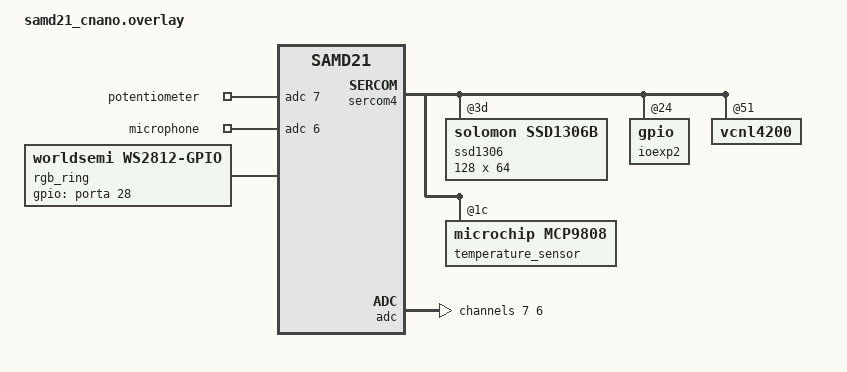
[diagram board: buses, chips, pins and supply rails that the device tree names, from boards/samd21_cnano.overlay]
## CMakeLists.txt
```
# SPDX-License-Identifier: Apache-2.0

cmake_minimum_required(VERSION 3.20.0)

find_package(Zephyr REQUIRED HINTS $ENV{ZEPHYR_BASE})
project(bopit_game)

target_include_directories(app PRIVATE src src/hw src/inputs)

target_sources(app PRIVATE
	src/main.c
	src/game.c
	src/ui.c
	src/ring.c
	src/audio.c
	src/hw/ioexp.c
	src/hw/vcnl4200.c
	src/hw/analog.c
	src/inputs/inputs.c
	src/inputs/detector.c
	src/inputs/input_cover.c
	src/inputs/input_touch.c
	src/inputs/input_twirl.c
	src/inputs/input_twist.c
	src/inputs/input_move.c
	src/inputs/input_warm.c
	src/inputs/input_say.c
)
```

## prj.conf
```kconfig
# Bop It! game - merged from the ambient_light, capacitive_touch, joystick_oled,
# potentiometer_reading, proximity_sensor, temperature_sensor, rgb_ring,
# snake_game and microphone (branch `microphone`) examples.

# Explorer I2C bus: OLED, MCP23008 (joystick + touch pads), VCNL4200, MCP9808
CONFIG_I2C=y
CONFIG_GPIO=y

# Potentiometer (AIN7) and microphone (AIN6) on the same SAM ADC
CONFIG_ADC=y

# OLED through the character framebuffer. The CFB allocates its 1 KiB frame
# buffer from the heap (examples used 2048..8192; 4096 is a compromise that
# still fits the 16 KiB SRAM of the SAMD21G17D).
CONFIG_DISPLAY=y
CONFIG_CHARACTER_FRAMEBUFFER=y
CONFIG_HEAP_MEM_POOL_SIZE=4096

# WS2812B RGB ring (bit-banged GPIO driver, see rgb_ring example)
CONFIG_LED_STRIP=y

# Random instruction selection (same as snake_game). The timer based
# generator is not cryptographic; the game also mixes in the cycle counter
# at the moment the player starts a game.
CONFIG_TEST_RANDOM_GENERATOR=y
CONFIG_TIMER_RANDOM_GENERATOR=y

CONFIG_PRINTK=y
CONFIG_MAIN_STACK_SIZE=2048

# NOTE: the capacitive_touch example used CONFIG_INPUT / CONFIG_INPUT_GPIO_KEYS
# with the MCP23008 GPIO driver. The game reads the MCP23008 directly instead
# (like joystick_oled / snake_game), so those options are intentionally NOT set.
# See README "Conflicts and how they were resolved".

# Audio extension (not implemented). When implementing the speaker path from
# the `speaker` example, add:
#   CONFIG_SPI=y
#   CONFIG_DAC=y
```

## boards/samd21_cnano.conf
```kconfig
# Board-specific Kconfig for samd21_cnano, merged from the per-example settings.
# SAMD21G17D: 128 KiB flash, 16 KiB SRAM - keep heap/stack as in prj.conf.
# None of the examples used a board .conf; all options live in prj.conf.
# Board-only tweaks go here so prj.conf stays identical for every board.
#
# Example (from the joystick_oled README troubleshooting): if the Microchip
# "g1" SERCOM I2C driver in your tree is too old, update the checkout.
#
# Audio extension (speaker example), when implemented:
# CONFIG_SPI=y
# CONFIG_DAC=y
# CONFIG_DAC_LOG_LEVEL_INF=y
```

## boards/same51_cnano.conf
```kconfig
# Board-specific Kconfig for same51_cnano, merged from the per-example settings.
# SAME51J20A: 1 MiB flash, 256 KiB SRAM - room for audio samples later.
# More heap is harmless here:
CONFIG_HEAP_MEM_POOL_SIZE=8192
# None of the examples used a board .conf; all options live in prj.conf.
# Board-only tweaks go here so prj.conf stays identical for every board.
#
# Example (from the joystick_oled README troubleshooting): if the Microchip
# "g1" SERCOM I2C driver in your tree is too old, update the checkout.
#
# Audio extension (speaker example), when implemented:
# CONFIG_SPI=y
# CONFIG_DAC=y
# CONFIG_DAC_LOG_LEVEL_INF=y
```

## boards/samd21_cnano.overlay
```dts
/* SPDX-License-Identifier: Apache-2.0 */

/*
 * Bop It! game - Curiosity Nano Explorer on the SAM D21 Curiosity Nano.
 *
 * Merged from the samd21_cnano overlays of: ambient_light, proximity_sensor,
 * capacitive_touch, joystick_oled, potentiometer_reading, temperature_sensor,
 * rgb_ring, snake_game, microphone (branch `microphone`) and speaker (audio,
 * commented out).
 *
 * Explorer I2C bus -> PA12 (SDA) / PA13 (SCL), SERCOM4, 400 kHz (board default)
 *   - OLED SSD1306 128x64     @ 0x3D
 *   - MCP23008 expander 2     @ 0x24 (joystick GP0..GP4, touch SW3..SW1 GP5..GP7)
 *   - VCNL4200 prox + light   @ 0x51
 *   - MCP9808 temperature     @ 0x1C
 * ADC (one SAM ADC):  AIN6 = PA06 microphone, AIN7 = PA07 potentiometer
 * RGB ring WS2812B:   PA28 (Explorer IO 27), bit-banged GPIO driver
 *
 * Conflicts resolved (see README):
 *  - OLED compatible: most examples use "solomon,ssd1306b", ambient_light and
 *    joystick_oled use "solomon,ssd1306". The majority value is used; switch
 *    if your Zephyr tree only knows the other one.
 *  - MCP23008 @ 0x24: capacitive_touch bound Zephyr's "microchip,mcp23008"
 *    GPIO driver + gpio-keys, joystick_oled/snake_game read it raw over I2C.
 *    Two owners for one chip would fight over IODIR/GPPU, so the node has NO
 *    compatible here and the app reads it raw for both joystick and touch.
 *  - ADC reference: pot used ADC_REF_INTERNAL, mic ADC_REF_VDD_1_2. Both
 *    channels are kept as in their examples; src/hw/analog.c re-runs
 *    adc_channel_setup() when switching channel (REFCTRL is global).
 *  - joystick_oled restated SERCOM4 (pinctrl, clocks). Not needed: the board
 *    already enables SERCOM4 as I2C, the other examples rely on that.
 */

#include <zephyr/dt-bindings/gpio/gpio.h>
#include <zephyr/dt-bindings/adc/adc.h>
#include <zephyr/dt-bindings/led/led.h>

/ {
	chosen {
		zephyr,display = &ssd1306;
	};

	aliases {
		temperature-sensor = &temperature_sensor;
		led-strip = &rgb_ring;
		i2c-controller = &sercom4;
	};

	zephyr,user {
		io-channels = <&adc 7>, <&adc 6>;
		io-channel-names = "potentiometer", "microphone";
	};

	rgb_ring: ws2812 {
		compatible = "worldsemi,ws2812-gpio";
		gpios = <&porta 28 GPIO_ACTIVE_HIGH>;
		chain-length = <8>;
		color-mapping = <LED_COLOR_ID_GREEN
				 LED_COLOR_ID_RED
				 LED_COLOR_ID_BLUE>;
	};
};

&sercom4 {
	ssd1306: ssd1306@3d {
		compatible = "solomon,ssd1306b";
		reg = <0x3d>;
		width = <128>;
		height = <64>;
		segment-offset = <0>;
		page-offset = <0>;
		display-offset = <0>;
		multiplex-ratio = <63>;
		prechargep = <0x22>;
		segment-remap;
		com-invdir;
	};

	/* No compatible on purpose: read raw by src/hw/ioexp.c */
	ioexp2: gpio@24 {
		reg = <0x24>;
	};

	/* No Zephyr driver: read raw by src/hw/vcnl4200.c */
	vcnl4200: vcnl4200@51 {
		reg = <0x51>;
	};

	/* Compatible kept from temperature_sensor; CONFIG_SENSOR is off, read raw */
	temperature_sensor: temperature_sensor@1c {
		compatible = "microchip,mcp9808";
		reg = <0x1c>;
	};
};

&adc {
	prescaler = <4>;
	#address-cells = <1>;
	#size-cells = <0>;

	/* Potentiometer (potentiometer_reading example) */
	channel@7 {
		reg = <7>;
		zephyr,gain = "ADC_GAIN_1";
		zephyr,reference = "ADC_REF_INTERNAL";
		zephyr,acquisition-time = <ADC_ACQ_TIME_DEFAULT>;
		zephyr,resolution = <12>;
		zephyr,input-positive = <7>;
	};

	/* Microphone (microphone branch) */
	channel@6 {
		reg = <6>;
		zephyr,gain = "ADC_GAIN_1";
		zephyr,reference = "ADC_REF_VDD_1_2";
		zephyr,acquisition-time = <ADC_ACQ_TIME_DEFAULT>;
		zephyr,resolution = <12>;
		zephyr,input-positive = <6>;
	};
};

/*
 * AUDIO EXTENSION (speaker example) - uncomment when audio is implemented and
 * copy dts/bindings/microchip,mcp4821.yaml + src/dac_mcp4821.c from the
 * speaker example. Pins: SERCOM1 PA16 MOSI / PA17 SCK / PA19 MISO, DAC CS
 * PA27, SPEAKER ENABLE PB02; DAC LDAC is not routed on the SAMD21 Nano.
 * No pin conflict with anything above (I2C PA12/13, ADC PA06/07, ring PA28).
 *
 * &pinctrl {
 *	sercom1_spi_default: sercom1_spi_default {
 *		group1 {
 *			pinmux = <PA16C_SERCOM1_PAD0>, <PA17C_SERCOM1_PAD1>,
 *				 <PA19C_SERCOM1_PAD3>;
 *		};
 *	};
 * };
 *
 * &sercom1 {
 *	compatible = "atmel,sam0-spi";
 *	status = "okay";
 *	#address-cells = <1>;
 *	#size-cells = <0>;
 *	dipo = <3>;
 *	dopo = <0>;
 *	pinctrl-0 = <&sercom1_spi_default>;
 *	pinctrl-names = "default";
 *	cs-gpios = <&porta 27 GPIO_ACTIVE_LOW>;
 *	mcp4821: dac@0 {
 *		compatible = "microchip,mcp4821";
 *		reg = <0>;
 *		spi-max-frequency = <1000000>;
 *		#io-channel-cells = <1>;
 *		gain-1x;
 *	};
 * };
 *
 * / {
 *	speaker_ctrl {
 *		compatible = "gpio-leds";
 *		speaker_en: speaker_en {
 *			gpios = <&portb 2 GPIO_ACTIVE_HIGH>;
 *			label = "SPEAKER_ENABLE";
 *		};
 *	};
 *	aliases {
 *		speaker-dac = &mcp4821;
 *		speaker-enable = &speaker_en;
 *	};
 * };
 */
```

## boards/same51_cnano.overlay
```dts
/* SPDX-License-Identifier: Apache-2.0 */

/*
 * Bop It! game - Curiosity Nano Explorer on the SAM E51 Curiosity Nano.
 *
 * Merged from the same51_cnano overlays of: ambient_light, proximity_sensor,
 * capacitive_touch, joystick_oled, potentiometer_reading, temperature_sensor,
 * rgb_ring, snake_game, microphone (branch `microphone`) and speaker (audio,
 * commented out).
 *
 * Explorer I2C bus -> PA12 (SDA) / PA13 (SCL), SERCOM2, 400 kHz (board default, GCLK1 60 MHz)
 *   - OLED SSD1306 128x64     @ 0x3D
 *   - MCP23008 expander 2     @ 0x24 (joystick GP0..GP4, touch SW3..SW1 GP5..GP7)
 *   - VCNL4200 prox + light   @ 0x51
 *   - MCP9808 temperature     @ 0x1C
 * ADC0:  AIN6 = PA06 microphone, AIN7 = PA07 potentiometer (as in examples)
 * RGB ring WS2812B:   PB04 (Explorer IO 27), bit-banged GPIO driver
 *
 * Conflicts resolved (see README):
 *  - OLED compatible: most examples use "solomon,ssd1306b", ambient_light and
 *    joystick_oled use "solomon,ssd1306". The majority value is used; switch
 *    if your Zephyr tree only knows the other one.
 *  - MCP23008 @ 0x24: capacitive_touch bound Zephyr's "microchip,mcp23008"
 *    GPIO driver + gpio-keys, joystick_oled/snake_game read it raw over I2C.
 *    Two owners for one chip would fight over IODIR/GPPU, so the node has NO
 *    compatible here and the app reads it raw for both joystick and touch.
 *  - ADC reference: pot used ADC_REF_INTERNAL, mic ADC_REF_VDD_1. Both
 *    channels are kept as in their examples; src/hw/analog.c re-runs
 *    adc_channel_setup() when switching channel (REFCTRL is global).
 *  - joystick_oled restated SERCOM2 (pinctrl, clocks). Not needed: the board
 *    already enables SERCOM2 as I2C, the other examples rely on that.
 */

#include <zephyr/dt-bindings/gpio/gpio.h>
#include <zephyr/dt-bindings/adc/adc.h>
#include <zephyr/dt-bindings/led/led.h>

/ {
	chosen {
		zephyr,display = &ssd1306;
	};

	aliases {
		temperature-sensor = &temperature_sensor;
		led-strip = &rgb_ring;
		i2c-controller = &sercom2;
	};

	zephyr,user {
		io-channels = <&adc0 7>, <&adc0 6>;
		io-channel-names = "potentiometer", "microphone";
	};

	rgb_ring: ws2812 {
		compatible = "worldsemi,ws2812-gpio";
		gpios = <&portb 4 GPIO_ACTIVE_HIGH>;
		chain-length = <8>;
		color-mapping = <LED_COLOR_ID_GREEN
				 LED_COLOR_ID_RED
				 LED_COLOR_ID_BLUE>;
	};
};

&sercom2 {
	ssd1306: ssd1306@3d {
		compatible = "solomon,ssd1306b";
		reg = <0x3d>;
		width = <128>;
		height = <64>;
		segment-offset = <0>;
		page-offset = <0>;
		display-offset = <0>;
		multiplex-ratio = <63>;
		prechargep = <0x22>;
		segment-remap;
		com-invdir;
	};

	/* No compatible on purpose: read raw by src/hw/ioexp.c */
	ioexp2: gpio@24 {
		reg = <0x24>;
	};

	/* No Zephyr driver: read raw by src/hw/vcnl4200.c */
	vcnl4200: vcnl4200@51 {
		reg = <0x51>;
	};

	/* Compatible kept from temperature_sensor; CONFIG_SENSOR is off, read raw */
	temperature_sensor: temperature_sensor@1c {
		compatible = "microchip,mcp9808";
		reg = <0x1c>;
	};
};

&adc0 {
	#address-cells = <1>;
	#size-cells = <0>;

	/* Potentiometer (potentiometer_reading example) */
	channel@7 {
		reg = <7>;
		zephyr,gain = "ADC_GAIN_1";
		zephyr,reference = "ADC_REF_INTERNAL";
		zephyr,acquisition-time = <ADC_ACQ_TIME_DEFAULT>;
		zephyr,resolution = <12>;
		zephyr,input-positive = <7>;
	};

	/* Microphone (microphone branch) */
	channel@6 {
		reg = <6>;
		zephyr,gain = "ADC_GAIN_1";
		zephyr,reference = "ADC_REF_VDD_1";
		zephyr,acquisition-time = <ADC_ACQ_TIME_DEFAULT>;
		zephyr,resolution = <12>;
		zephyr,input-positive = <6>;
	};
};

/*
 * AUDIO EXTENSION (speaker example) - uncomment when audio is implemented and
 * copy dts/bindings/microchip,mcp4821.yaml + src/dac_mcp4821.c from the
 * speaker example. Pins: SERCOM1 PA16 MOSI / PA17 SCK / PA19 MISO, DAC CS
 * PB05, DAC LDAC PA03, SPEAKER ENABLE PB14.
 * No pin conflict with anything above (I2C PA12/13, ADC PA06/07, ring PB04).
 *
 * &pinctrl {
 *	sercom1_spi_default: sercom1_spi_default {
 *		group1 {
 *			pinmux = <PA16C_SERCOM1_PAD0>, <PA17C_SERCOM1_PAD1>,
 *				 <PA19C_SERCOM1_PAD3>;
 *		};
 *	};
 * };
 *
 * &sercom1 {
 *	compatible = "microchip,sercom-g1-spi";
 *	status = "okay";
 *	#address-cells = <1>;
 *	#size-cells = <0>;
 *	dipo = <3>;
 *	dopo = <0>;
 *	pinctrl-0 = <&sercom1_spi_default>;
 *	pinctrl-names = "default";
 *	cs-gpios = <&portb 5 GPIO_ACTIVE_LOW>;
 *	mcp4821: dac@0 {
 *		compatible = "microchip,mcp4821";
 *		reg = <0>;
 *		spi-max-frequency = <1000000>;
 *		#io-channel-cells = <1>;
 *		gain-1x;
 *		ldac-gpios = <&porta 3 GPIO_ACTIVE_HIGH>;
 *	};
 * };
 *
 * / {
 *	speaker_ctrl {
 *		compatible = "gpio-leds";
 *		speaker_en: speaker_en {
 *			gpios = <&portb 14 GPIO_ACTIVE_HIGH>;
 *			label = "SPEAKER_ENABLE";
 *		};
 *	};
 *	aliases {
 *		speaker-dac = &mcp4821;
 *		speaker-enable = &speaker_en;
 *	};
 * };
 */
```

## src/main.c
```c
/* SPDX-License-Identifier: Apache-2.0 */
/*
 * Bop It! for the Curiosity Nano Explorer (SAM D21 / SAM E51 Curiosity Nano).
 * An instruction is shown on the OLED; perform it before the time runs out.
 */
#include <zephyr/kernel.h>
#include <zephyr/sys/printk.h>
#include "game.h"
#include "game_config.h"
#include "inputs.h"
#include "ui.h"
#include "ring.h"
#include "audio.h"

int main(void)
{
	uint32_t avail;

	printk("Explorer Bop It! game\n");

	if (ui_init() != 0) {
		return 0;
	}
	if (ring_init() != 0) {
		printk("RGB ring not ready - playing without LEDs\n");
	}
	(void)audio_init();

	avail = inputs_init();
	if (avail == 0U) {
		printk("No inputs available\n");
		ui_show_game_over(0, 0, "No sensors!");
		return 0;
	}

	game_init(BIT_MASK(INPUT_COUNT) & ~avail);
	while (true) {
		game_step();
		k_msleep(POLL_PERIOD_MS);
	}
	return 0;
}
```

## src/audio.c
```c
/* SPDX-License-Identifier: Apache-2.0 */
/*
 * No-op audio stubs. To implement, follow the `speaker` example
 * (MCP4821 SPI DAC -> class-D amp, SPEAKER ENABLE GPIO): copy
 * dts/bindings/microchip,mcp4821.yaml and src/dac_mcp4821.c, uncomment the
 * speaker nodes in boards/<board>.overlay, add CONFIG_SPI/CONFIG_DAC and
 * replace these bodies with a mixer thread fed by a k_timer (see README).
 */
#include <zephyr/kernel.h>
#include "audio.h"

int audio_init(void)
{
	return 0;
}

void audio_start_loop(void)
{
}

void audio_stop_loop(void)
{
}

void audio_play_instruction(enum bopit_input_id id)
{
	ARG_UNUSED(id);
}

void audio_play_success(void)
{
}

void audio_play_start(void)
{
}

void audio_play_end(void)
{
}
```

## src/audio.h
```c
/* SPDX-License-Identifier: Apache-2.0 */
/*
 * Audio extension point. All functions are currently no-ops (see audio.c and
 * README "Audio extension"). Calls are non-blocking by contract so a real
 * implementation must run playback in its own thread / timer + DMA.
 */
#ifndef BOPIT_AUDIO_H_
#define BOPIT_AUDIO_H_

#include "input.h"

int audio_init(void);
void audio_start_loop(void);                       /* repetitive percussion backing track */
void audio_stop_loop(void);
void audio_play_instruction(enum bopit_input_id id); /* "Twist it!" voice line / sound */
void audio_play_success(void);
void audio_play_start(void);                       /* start jingle */
void audio_play_end(void);                         /* game over jingle */

#endif
```

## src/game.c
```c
/* SPDX-License-Identifier: Apache-2.0 */
/*
 * Bop It! state machine (single thread, polled every POLL_PERIOD_MS):
 *
 *   START --any input--> ROUND --target COMPLETE--> SUCCESS --> ROUND ...
 *                          |--wrong input / timeout--> GAME_OVER --any input--> ROUND
 */
#include <zephyr/kernel.h>
#include <zephyr/random/random.h>
#include <zephyr/sys/printk.h>
#include "game.h"
#include "game_config.h"
#include "inputs.h"
#include "ui.h"
#include "ring.h"
#include "audio.h"

enum game_state { STATE_START, STATE_ROUND, STATE_GAME_OVER };

static enum game_state state;
static enum bopit_input_id target;
static int prev_target = -1;
static uint32_t score, best;
static int64_t round_start, round_deadline, armed_at, next_redraw;
static uint32_t rng_mix;

static uint32_t round_time_ms(void)
{
        uint32_t t = ROUND_TIME_START_MS;
        uint32_t dec = score * ROUND_TIME_STEP_MS;

        t = (dec < t - ROUND_TIME_MIN_MS) ? t - dec : ROUND_TIME_MIN_MS;
        return t + inputs_get(target)->extra_time_ms;
}

static enum bopit_input_id pick_target(void)
{
        uint32_t avail = inputs_available();
        uint32_t n = 0;
        enum bopit_input_id ids[INPUT_COUNT];

        for (int i = 0; i < INPUT_COUNT; i++) {
                /* avoid the same instruction twice in a row when possible */
                if ((avail & BIT(i)) && (i != prev_target || __builtin_popcount(avail) == 1)) {
                        ids[n++] = (enum bopit_input_id)i;
                }
        }
        return ids[(sys_rand32_get() ^ rng_mix) % n];
}

/* Any activity on any input (used to start / restart). */
static bool any_activity(const enum input_state st[INPUT_COUNT])
{
        for (int i = 0; i < INPUT_COUNT; i++) {
                if (st[i] != INPUT_IDLE) {
                        return true;
                }
        }
        return false;
}

static void arm(void)
{
        inputs_arm_all();
        armed_at = k_uptime_get();
}

static uint32_t permille_left(int64_t now)
{
        int64_t total = round_deadline - round_start;
        int64_t left = round_deadline - now;

        return (left <= 0 || total <= 0) ? 0U : (uint32_t)((left * 1000) / total);
}

static void start_round(void)
{
        target = pick_target();
        prev_target = target;
        arm();
        round_start = k_uptime_get();
        round_deadline = round_start + round_time_ms();
        next_redraw = 0;
        printk("Round %u: %s IT! (%u ms)\n", score + 1, inputs_get(target)->verb,
               (uint32_t)(round_deadline - round_start));
        audio_play_instruction(target);
}

static void new_game(void)
{
        rng_mix ^= k_cycle_get_32(); /* player timing adds entropy */
        score = 0;
        prev_target = -1;
        audio_play_start();
        audio_start_loop();
        state = STATE_ROUND;
        start_round();
}

static void game_over(const char *reason)
{
        printk("Game over (%s), score %u\n", reason, score);
        best = MAX(best, score);
        audio_stop_loop();
        audio_play_end();
        ui_show_game_over(score, best, reason);
        ring_fail();
        k_msleep(GAME_OVER_LOCKOUT_MS);
        arm();
        state = STATE_GAME_OVER;
}

void game_init(uint32_t missing_inputs)
{
        state = STATE_START;
        ui_show_start(missing_inputs);
        arm();
}

void game_step(void)
{
        enum input_state st[INPUT_COUNT];
        int64_t now = k_uptime_get();

        inputs_poll_all(st);
        if (now - armed_at < ROUND_SETTLE_MS) {
                return; /* let sensors settle after the baseline was captured */
        }

        switch (state) {
        case STATE_START:
        case STATE_GAME_OVER:
                ring_idle_step();
                if (any_activity(st)) {
                        new_game();
                }
                break;

        case STATE_ROUND: {
                const struct bopit_input *t = inputs_get(target);

                if (st[target] == INPUT_COMPLETE) {
                        score++;
                        audio_play_success();
                        ring_rainbow_flash();
                        start_round();
                        break;
                }
                for (int i = 0; i < INPUT_COUNT; i++) {
                        if (i != (int)target && st[i] != INPUT_IDLE && inputs_get(i)->can_fail &&
                            !(t->ignore_mask & BIT(i))) {
                                game_over("Wrong move!");
                                return;
                        }
                }
                if (now >= round_deadline) {
                        game_over("Too slow!");
                        break;
                }
                if (now >= next_redraw) {
                        uint32_t left = permille_left(now);

                        ui_show_instruction(t->verb, score, left);
                        ring_countdown(left);
                        next_redraw = now + OLED_BAR_REFRESH_MS;
                }
                break;
        }
        }
}
```

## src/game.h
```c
/* SPDX-License-Identifier: Apache-2.0 */
#ifndef BOPIT_GAME_H_
#define BOPIT_GAME_H_

#include <stdint.h>

void game_init(uint32_t missing_inputs);
void game_step(void);

#endif
```

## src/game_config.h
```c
/* SPDX-License-Identifier: Apache-2.0 */
/* All game tunables in one place. Thresholds are untested guesses - tune on hardware. */
#ifndef BOPIT_GAME_CONFIG_H_
#define BOPIT_GAME_CONFIG_H_

/* Round timing */
#define ROUND_TIME_START_MS     4000U
#define ROUND_TIME_STEP_MS       150U   /* subtracted per point scored */
#define ROUND_TIME_MIN_MS       1200U
#define ROUND_SETTLE_MS          250U   /* inputs ignored right after arming */
#define GAME_OVER_LOCKOUT_MS    1500U   /* before "any input" restarts */
#define POLL_PERIOD_MS            20U
#define OLED_BAR_REFRESH_MS      200U

/* Cover it! - VCNL4200 ambient light must DROP by >= 50 % (and >= 20 counts) */
#define COVER_ABS_COUNTS          20
#define COVER_PCT                 50
/* Move it! - VCNL4200 proximity count must RISE by >= 30 counts or 50 % */
#define MOVE_ABS_COUNTS           30
#define MOVE_PCT                  50
/* Twist it! - potentiometer change of ~10 % of the 12-bit range */
#define TWIST_ABS_COUNTS         400
/* Warm it! - MCP9808 rise in 1/16 degC (6 = 0.375 degC) */
#define WARM_ABS_SIXTEENTHS        6
#define WARM_EXTRA_TIME_MS      3000U
/* Say it! - microphone peak-to-peak level rise (64-sample window) */
#define SAY_ABS_COUNTS           200
#define SAY_PCT                  100
#define SAY_WINDOW_SAMPLES        64U
/* Twirl it! - all four joystick directions */
#define TWIRL_EXTRA_TIME_MS     1500U

/* RGB ring */
#define RING_BRIGHTNESS           32U

#endif
```

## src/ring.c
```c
/* SPDX-License-Identifier: Apache-2.0 */
/* WS2812B ring animations (based on the rgb_ring example, led-strip alias). */
#include <zephyr/kernel.h>
#include <zephyr/device.h>
#include <zephyr/drivers/led_strip.h>
#include "ring.h"
#include "game_config.h"

#define STRIP_NODE DT_ALIAS(led_strip)
#define NUM_PIXELS DT_PROP(STRIP_NODE, chain_length)

static const struct device *const strip = DEVICE_DT_GET(STRIP_NODE);
static struct led_rgb pixels[NUM_PIXELS];
static bool ready;

static struct led_rgb color_wheel(uint8_t pos)
{
	struct led_rgb rgb;
	uint8_t ramp = (uint8_t)((pos % 85U) * 3U);

	if (pos < 85U) {
		rgb = (struct led_rgb){.r = 255U - ramp, .g = ramp, .b = 0U};
	} else if (pos < 170U) {
		rgb = (struct led_rgb){.r = 0U, .g = 255U - ramp, .b = ramp};
	} else {
		rgb = (struct led_rgb){.r = ramp, .g = 0U, .b = 255U - ramp};
	}
	rgb.r = (uint8_t)((rgb.r * RING_BRIGHTNESS) / 255U);
	rgb.g = (uint8_t)((rgb.g * RING_BRIGHTNESS) / 255U);
	rgb.b = (uint8_t)((rgb.b * RING_BRIGHTNESS) / 255U);
	return rgb;
}

static void show(void)
{
	if (ready) {
		(void)led_strip_update_rgb(strip, pixels, NUM_PIXELS);
	}
}

static void fill(struct led_rgb c)
{
	for (size_t i = 0; i < NUM_PIXELS; i++) {
		pixels[i] = c;
	}
	show();
}

int ring_init(void)
{
	ready = device_is_ready(strip);
	ring_off();
	return ready ? 0 : -ENODEV;
}

void ring_off(void)
{
	fill((struct led_rgb){0});
}

void ring_countdown(uint32_t permille_left)
{
	uint32_t lit = (NUM_PIXELS * MIN(permille_left, 1000U) + 999U) / 1000U;
	struct led_rgb c = {.r = RING_BRIGHTNESS / 4U, .g = RING_BRIGHTNESS / 4U,
			    .b = RING_BRIGHTNESS / 4U};

	for (size_t i = 0; i < NUM_PIXELS; i++) {
		pixels[i] = (i < lit) ? c : (struct led_rgb){0};
	}
	show();
}

void ring_rainbow_flash(void)
{
	/* Flashing, spinning rainbow: 6 on/off flashes, ~600 ms total */
	for (uint8_t f = 0; f < 6U; f++) {
		for (size_t i = 0; i < NUM_PIXELS; i++) {
			pixels[i] = color_wheel((uint8_t)(f * 40U + (i * 256U) / NUM_PIXELS));
		}
		show();
		k_msleep(70);
		ring_off();
		k_msleep(30);
	}
}

void ring_fail(void)
{
	for (int f = 0; f < 3; f++) {
		fill((struct led_rgb){.r = RING_BRIGHTNESS});
		k_msleep(150);
		ring_off();
		k_msleep(100);
	}
}

void ring_idle_step(void)
{
	static uint8_t offset;

	for (size_t i = 0; i < NUM_PIXELS; i++) {
		struct led_rgb c = color_wheel((uint8_t)(offset + (i * 256U) / NUM_PIXELS));

		pixels[i] = (struct led_rgb){.r = c.r / 4U, .g = c.g / 4U, .b = c.b / 4U};
	}
	offset += 4U;
	show();
}
```

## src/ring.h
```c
/* SPDX-License-Identifier: Apache-2.0 */
#ifndef BOPIT_RING_H_
#define BOPIT_RING_H_

#include <stdint.h>

int ring_init(void);
void ring_off(void);
void ring_countdown(uint32_t permille_left);  /* dim white segments = time left */
void ring_rainbow_flash(void);                 /* correct action (blocking ~600 ms) */
void ring_fail(void);                          /* game over (blocking ~750 ms) */
void ring_idle_step(void);                     /* slow dim rainbow on start/game-over screens */

#endif
```

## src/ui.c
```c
/* SPDX-License-Identifier: Apache-2.0 */
/*
 * OLED screens through the character framebuffer (as in the examples).
 * Large text: for each line the biggest built-in CFB font that fits the
 * 128 px width is chosen (default fonts are 10x16, 15x24 and 20x32).
 */
#include <stdio.h>
#include <string.h>
#include <zephyr/kernel.h>
#include <zephyr/device.h>
#include <zephyr/display/cfb.h>
#include <zephyr/drivers/display.h>
#include <zephyr/sys/printk.h>
#include "ui.h"

static const struct device *const display = DEVICE_DT_GET(DT_CHOSEN(zephyr_display));
static uint16_t width, height;

/* Select the largest font whose height <= max_h and that fits `text`; returns its height. */
static uint8_t pick_font_w(const char *text, uint8_t max_h, uint8_t *font_w)
{
        int best = 0, n = cfb_get_numof_fonts(display);
        uint8_t best_w = 0, best_h = 0, w, h;
        size_t len = strlen(text);

        for (int i = 0; i < n; i++) {
                if (cfb_get_font_size(display, i, &w, &h) != 0) {
                        continue;
                }
                if (w * len <= width && h <= max_h && h > best_h) {
                        best = i;
                        best_w = w;
                        best_h = h;
                }
        }
        if (best_h == 0U) { /* nothing fits: use font 0 */
                cfb_get_font_size(display, 0, &best_w, &best_h);
        }
        cfb_framebuffer_set_font(display, best);
        *font_w = best_w;
        return best_h;
}

static uint8_t pick_font(const char *text, uint8_t max_h)
{
        uint8_t w;

        return pick_font_w(text, max_h, &w);
}

static void print_line(const char *text, uint16_t x, uint16_t y, uint8_t max_h)
{
        (void)pick_font(text, max_h);
        cfb_print(display, text, x, y);
}

static void print_centered(const char *text, uint16_t y, uint8_t max_h)
{
        uint8_t w = 0;
        uint16_t text_w;

        (void)pick_font_w(text, max_h, &w);
        text_w = (uint16_t)(w * strlen(text));
        cfb_print(display, text, (text_w < width) ? (width - text_w) / 2U : 0U, y);
}

int ui_init(void)
{
        int ret;

        if (!device_is_ready(display)) {
                printk("OLED not ready (check I2C address 0x3D)\n");
                return -ENODEV;
        }
        /* capacitive_touch example: prefer MONO10, fall back to MONO01 */
        if (display_set_pixel_format(display, PIXEL_FORMAT_MONO10) != 0) {
                (void)display_set_pixel_format(display, PIXEL_FORMAT_MONO01);
        }
        ret = cfb_framebuffer_init(display);
        if (ret != 0) {
                printk("Framebuffer init failed (%d)\n", ret);
                return ret;
        }
        (void)display_blanking_off(display);
        width = cfb_get_display_parameter(display, CFB_DISPLAY_WIDTH);
        height = cfb_get_display_parameter(display, CFB_DISPLAY_HEIGHT);
        return 0;
}

void ui_show_start(uint32_t missing_inputs)
{
        cfb_framebuffer_clear(display, false);
        print_centered("BOP IT!", 0, 32);
        print_line(missing_inputs ? "Some sensors off" : "Touch or press", 0, 32, 16);
        print_line("to start", 0, 48, 16);
        cfb_framebuffer_finalize(display);
}

void ui_show_instruction(const char *verb, uint32_t score, uint32_t permille_left)
{
        char num[8];
        uint16_t bar;

        cfb_framebuffer_clear(display, false);
        print_line(verb, 0, 0, 32);          /* e.g. "TWIRL" in 20x32 */
        print_line("IT!", 0, 32, 24);        /* 15x24 */
        snprintf(num, sizeof(num), "%u", score);
        print_line(num, width - 10U * strlen(num), 36, 16);

        /* time bar along the bottom 4 rows */
        bar = (uint16_t)(((uint32_t)width * MIN(permille_left, 1000U)) / 1000U);
        if (bar > 0U) {
                cfb_invert_area(display, 0, height - 4U, bar, 4);
        }
        cfb_framebuffer_finalize(display);
}

void ui_show_game_over(uint32_t score, uint32_t best, const char *reason)
{
        char line[20];

        cfb_framebuffer_clear(display, false);
        print_line("GAME", 0, 0, 24);
        print_line("OVER", 64, 0, 24);
        snprintf(line, sizeof(line), "Score %u  Best %u", score, best);
        print_line(line, 0, 26, 16);
        print_line(reason, 0, 42, 16);
        cfb_framebuffer_finalize(display);
}
```

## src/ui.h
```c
/* SPDX-License-Identifier: Apache-2.0 */
#ifndef BOPIT_UI_H_
#define BOPIT_UI_H_

#include <stdint.h>

int ui_init(void);
void ui_show_start(uint32_t missing_inputs);
/* Big "<VERB>" / "IT!" with score and a time bar (permille 0..1000 left). */
void ui_show_instruction(const char *verb, uint32_t score, uint32_t permille_left);
void ui_show_game_over(uint32_t score, uint32_t best, const char *reason);

#endif
```
